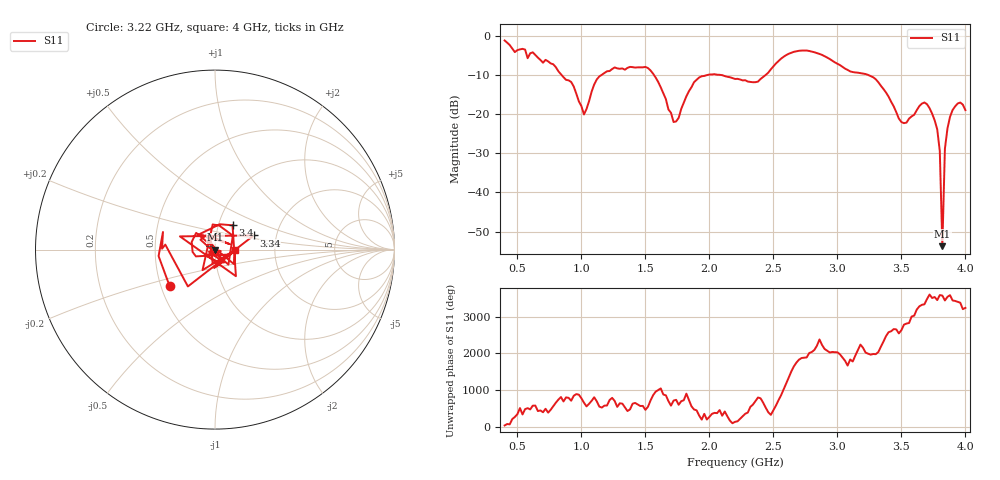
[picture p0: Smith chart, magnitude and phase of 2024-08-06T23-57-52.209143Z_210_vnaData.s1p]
!Created with skrf (http://scikit-rf.org).
# Hz S RI R 50.0
!freq ReS11 ImS11
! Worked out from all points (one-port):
!   181 points, 400 MHz to 4 GHz, reference 50 ohm
!   lowest |S11| = -53.7 dB at 3.82 GHz (marker M1), VSWR 1.00, Z = 50.2 - j0.0947 ohm
!   |S11| at or under -10 dB: 1.567 GHz to 1.986 GHz (419.7 MHz wide, 23.6 % of centre); 2.087 GHz to 2.44 GHz (352.7 MHz wide, 15.6 % of centre); 3.24 GHz to end of sweep (the widest 3 of 4)
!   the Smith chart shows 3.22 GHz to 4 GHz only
!   S11 on the Smith chart (normalised r, x): 3.22 GHz: 0.56, -0.25; 3.34 GHz: 1.52, +0.25; 3.4 GHz: 1.17, +0.32; 4 GHz: 1.25, -0.01
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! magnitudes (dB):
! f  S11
! 400 MHz  -1.2
! 860 MHz  -10.6
! 940 MHz  -13.0
! 1.02 GHz  -20.1
! 1.12 GHz  -11.2
! 1.3 GHz  -8.4
! 1.52 GHz  -8.2
! 1.6 GHz  -11.8
! 1.72 GHz  -22.0
! 1.76 GHz  -21.0
! 1.92 GHz  -10.6
! 2.2 GHz  -11.0
! 2.38 GHz  -11.7
! 2.66 GHz  -4.1
! 3.1 GHz  -9.1
! 3.22 GHz  -9.8
! 3.34 GHz  -12.8
! 3.4 GHz  -15.6
! 3.5 GHz  -22.0
! 3.56 GHz  -21.1
! 3.68 GHz  -17.0
! 3.78 GHz  -23.9
! 3.8 GHz  -29.5
! 3.82 GHz  -53.7
! 3.84 GHz  -28.8
! 3.86 GHz  -23.7
! 3.94 GHz  -17.3
! 4 GHz  -19.0
